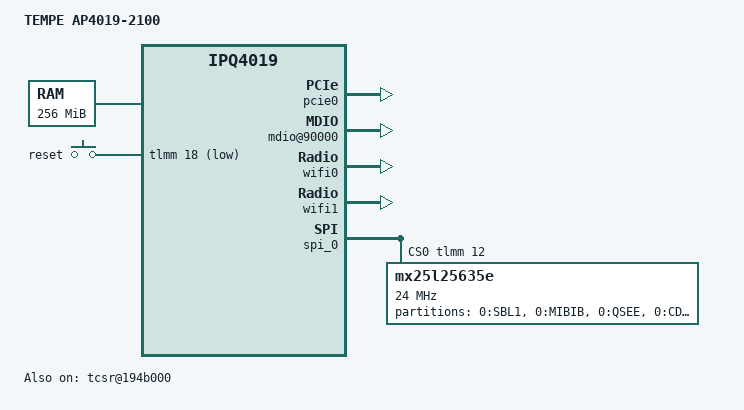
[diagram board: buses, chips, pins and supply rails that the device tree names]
/* Copyright (c) 2015, The Linux Foundation. All rights reserved.
 *
 * Permission to use, copy, modify, and/or distribute this software for any
 * purpose with or without fee is hereby granted, provided that the above
 * copyright notice and this permission notice appear in all copies.
 *
 * THE SOFTWARE IS PROVIDED "AS IS" AND THE AUTHOR DISCLAIMS ALL WARRANTIES
 * WITH REGARD TO THIS SOFTWARE INCLUDING ALL IMPLIED WARRANTIES OF
 * MERCHANTABILITY AND FITNESS. IN NO EVENT SHALL THE AUTHOR BE LIABLE FOR
 * ANY SPECIAL, DIRECT, INDIRECT, OR CONSEQUENTIAL DAMAGES OR ANY DAMAGES
 * WHATSOEVER RESULTING FROM LOSS OF USE, DATA OR PROFITS, WHETHER IN AN
 * ACTION OF CONTRACT, NEGLIGENCE OR OTHER TORTIOUS ACTION, ARISING OUT OF
 * OR IN CONNECTION WITH THE USE OR PERFORMANCE OF THIS SOFTWARE.
 *
 */

#include "qcom-ipq4019-ap.dk04.1.dtsi"
#include "qcom-ipq4019-bus.dtsi"
#include <dt-bindings/gpio/gpio.h>
#include <dt-bindings/input/input.h>
#include <dt-bindings/soc/qcom,tcsr.h>

/ {
	model = "TEMPE AP4019-2100";
	compatible = "tempe,ap4019-2100", "qcom,ipq4019";

	memory {
		device_type = "memory";
		reg = <0x80000000 0x10000000>;
	};

	aliases {
		led-boot = &power;
		led-failsafe = &power;
		led-running = &power;
		led-upgrade = &power;
	};

	reserved-memory {
		#address-cells = <0x1>;
		#size-cells = <0x1>;
		ranges;

		rsvd1@87E00000 {
			reg = <0x87e00000 0x200000>;
			no-map;
		};
	};

	soc {
		pcie0: qcom,pcie@80000 {
			compatible = "qcom,msm_pcie";
			cell-index = <0>;
			qcom,ctrl-amt = <1>;

			reg = <0x80000 0x2000>,
			      <0x99000 0x800>,
			      <0x40000000 0xf1d>,
			      <0x40000f20 0xa8>,
			      <0x40100000 0x1000>,
			      <0x40200000 0x100000>,
			      <0x40300000 0xd00000>;
			reg-names = "parf", "phy", "dm_core", "elbi",
				"conf", "io", "bars";

			#address-cells = <0>;
			interrupt-parent = <&pcie0>;
			interrupts = <0 1 2 3 4 5 6 7 8 9 10 11 12>;
			#interrupt-cells = <1>;
			interrupt-map-mask = <0xffffffff>;
			interrupt-map = <0 &intc 0 141 0
				1 &intc 0 142 0
				2 &intc 0 143 0
				3 &intc 0 144 0
				4 &intc 0 145 0
				5 &intc 0 146 0
				6 &intc 0 147 0
				7 &intc 0 148 0
				8 &intc 0 149 0
				9 &intc 0 150 0
				10 &intc 0 151 0
				11 &intc 0 152 0 >;

			interrupt-names = "int_msi", "int_a", "int_b", "int_c", "int_d",
				"int_pls_pme", "int_pme_legacy", "int_pls_err",
				"int_aer_legacy", "int_pls_link_up",
				"int_pls_link_down", "int_bridge_flush_n","int_wake";

			qcom,ep-latency = <10>;

			clocks = <&gcc GCC_PCIE_AHB_CLK>,
				<&gcc GCC_PCIE_AXI_M_CLK>,
				<&gcc GCC_PCIE_AXI_S_CLK>;

			clock-names =	"pcie_0_cfg_ahb_clk",
					"pcie_0_mstr_axi_clk",
					"pcie_0_slv_axi_clk";

			max-clock-frequency-hz = <0>, <0>, <0>;

			resets = <&gcc PCIE_AXI_M_ARES>,
				<&gcc PCIE_AXI_S_ARES>,
				<&gcc PCIE_PIPE_ARES>,
				<&gcc PCIE_AXI_M_VMIDMT_ARES>,
				<&gcc PCIE_AXI_S_XPU_ARES>,
				<&gcc PCIE_PARF_XPU_ARES>,
				<&gcc PCIE_PHY_ARES>,
				<&gcc PCIE_AXI_M_STICKY_ARES>,
				<&gcc PCIE_PIPE_STICKY_ARES>,
				<&gcc PCIE_PWR_ARES>,
				<&gcc PCIE_AHB_ARES>,
				<&gcc PCIE_PHY_AHB_ARES>;

			reset-names = "pcie_rst_axi_m_ares",
				"pcie_rst_axi_s_ares",
				"pcie_rst_pipe_ares",
				"pcie_rst_axi_m_vmidmt_ares",
				"pcie_rst_axi_s_xpu_ares",
				"pcie_rst_parf_xpu_ares",
				"pcie_rst_phy_ares",
				"pcie_rst_axi_m_sticky_ares",
				"pcie_rst_pipe_sticky_ares",
				"pcie_rst_pwr_ares",
				"pcie_rst_ahb_res",
				"pcie_rst_phy_ahb_ares";

			status = "ok";
			perst-gpio = <&tlmm 38 0>;
			wake-gpio = <&tlmm 50 0>;
			clkreq-gpio = <&tlmm 39 0>;
		};

		tcsr@194b000 {
			/* select hostmode */
			compatible = "qcom,tcsr";
			reg = <0x194b000 0x100>;
			qcom,usb-hsphy-mode-select = <TCSR_USB_HSPHY_HOST_MODE>;
			status = "ok";
		};

		ess_tcsr@1953000 {
			compatible = "qcom,tcsr";
			reg = <0x1953000 0x1000>;
			qcom,ess-interface-select = <TCSR_ESS_PSGMII>;
		};

		tcsr@1949000 {
			compatible = "qcom,tcsr";
			reg = <0x1949000 0x100>;
			qcom,wifi_glb_cfg = <TCSR_WIFI_GLB_CFG>;
		};

		tcsr@1957000 {
			compatible = "qcom,tcsr";
			reg = <0x1957000 0x100>;
			qcom,wifi_noc_memtype_m0_m2 = <TCSR_WIFI_NOC_MEMTYPE_M0_M2>;
		};

		mdio@90000 {
			status = "okay";
		};

		ess-switch@c000000 {
			status = "okay";
		};

		ess-psgmii@98000 {
			status = "okay";
		};

		edma@c080000 {
			status = "okay";
		};

		wifi0: wifi@a000000 {
			status = "ok";
			core-id = <0x0>;
			qca,msi_addr = <0x0b006040>;
			qca,msi_base = <0x40>;
			wifi_led_num = <2>;         /* Wifi 2G */
			wifi_led_source = <0>;      /* source id 0 */
			qcom,mtd-name = "0:ART";
			qcom,cal-offset = <0x1000>;
			qcom,cal-len = <12064>;
		};

		wifi1: wifi@a800000 {
			status = "ok";
			core-id = <0x1>;
			qca,msi_addr = <0x0b006040>;
			qca,msi_base = <0x50>;
			wifi_led_num = <1>;         /* Wifi 5G */
			wifi_led_source = <2>;      /* source id 2 */
			qcom,mtd-name = "0:ART";
			qcom,cal-offset = <0x5000>;
			qcom,cal-len = <12064>;
		};

		nand: qpic-nand@79b0000 {
			status = "disabled";
		};
	};

	gpio_keys {
			compatible = "gpio-keys";

			button@1 {
				label = "reset";
				linux,code = <KEY_RESTART>;
				gpios = <&tlmm 18 GPIO_ACTIVE_LOW>;
				linux,input-type = <1>;
			};
	};

	leds-gpio {
		compatible = "leds-gpio";

		power: status {
			label = "ap4019-2100:power:status";
			gpios = <&tlmm 40 GPIO_ACTIVE_LOW>;
		};

		wlan5G {
			label = "wlan5G";
			gpios = <&tlmm 48 0>;
		};

		wlan2G {
			label = "wlan2G";
			gpios = <&tlmm 49 0>;
		};
	};
};

&spi_0 { /* BLSP1 QUP1 */
	pinctrl-0 = <&spi_0_pins>;
	pinctrl-names = "default";
	status = "ok";
	cs-gpios = <&tlmm 12 0>;

	mx25l25635e@0 {
		#address-cells = <1>;
		#size-cells = <1>;
		reg = <0>;
		compatible = "mx25l25635e", "jedec,spi-nor";
		spi-max-frequency = <24000000>;

		partitions {
			compatible = "fixed-partitions";
			#address-cells = <1>;
			#size-cells = <1>;

			partition0@0 {
				label = "0:SBL1";
				reg = <0x00000000 0x00040000>;
				read-only;
			};
			partition1@40000 {
				label = "0:MIBIB";
				reg = <0x00040000 0x00020000>;
				read-only;
			};
			partition2@60000 {
				label = "0:QSEE";
				reg = <0x00060000 0x00060000>;
				read-only;
			};
			partition3@c0000 {
				label = "0:CDT";
				reg = <0x000c0000 0x00010000>;
				read-only;
			};
			partition4@d0000 {
				label = "0:DDRPARAMS";
				reg = <0x000d0000 0x00010000>;
				read-only;
			};
			partition5@e0000 {
				label = "0:APPSBLENV"; /* uboot env*/
				reg = <0x000e0000 0x00010000>;
			};
			partition6@f0000 {
				label = "0:APPSBL"; /* uboot */
				reg = <0x000f0000 0x00080000>;
				read-only;
			};
			partition7@170000 {
				label = "0:ART";
				reg = <0x00170000 0x00010000>;
			};
			partition8@180000 {
				label = "kernel";
				reg = <0x00180000 0x00400000>;
			};
			partition9@580000 {
				label = "rootfs";
				reg = <0x00580000 0x01600000>;
			};
			partition9@180000 {
				label = "firmware";
				reg = <0x00180000 0x01a00000>;
			};
		};
	};

	m25p80@0 {
		#address-cells = <1>;
		#size-cells = <0>;
		compatible = "n25q128a11";
		reg = <0>;
		spi-max-frequency = <24000000>;
		status = "disabled";
	};
};
